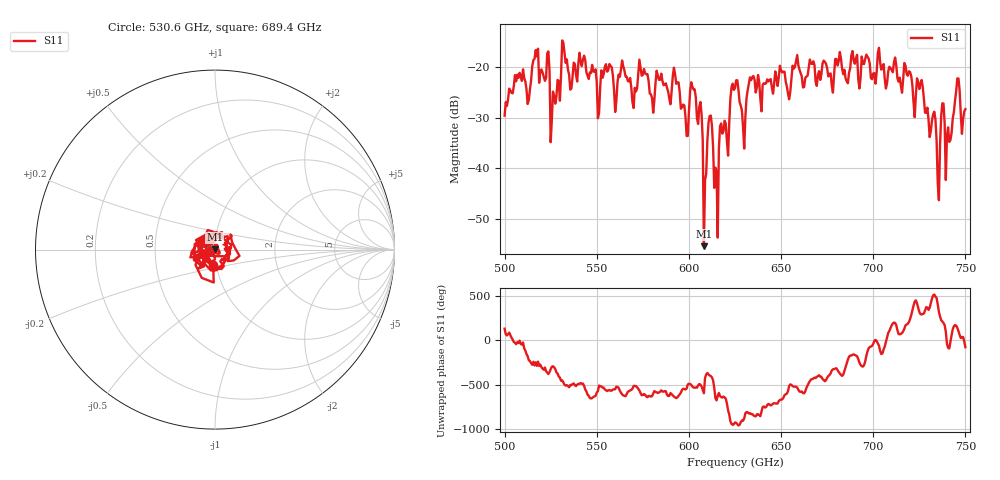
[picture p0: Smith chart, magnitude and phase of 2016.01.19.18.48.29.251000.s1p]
!Created with skrf (http://scikit-rf.org).
# GHz S RI R 50.0
!freq ReS11 ImS11
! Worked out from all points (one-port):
!   401 points, 500 GHz to 750 GHz, reference 50 ohm
!   lowest |S11| = -55.5 dB at 608.1 GHz (marker M1), VSWR 1.00, Z = 49.9 + j0.142 ohm
!   |S11| at or under -10 dB: start of sweep to end of sweep
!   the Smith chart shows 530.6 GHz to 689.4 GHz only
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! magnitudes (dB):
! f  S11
! 500 GHz  -29.6
! 506.9 GHz  -21.5
! 513.1 GHz  -26.5
! 516.9 GHz  -16.7
! 523.1 GHz  -17.3
! 526.2 GHz  -24.9
! 531.2 GHz  -14.7
! 550.6 GHz  -30.1
! 562.5 GHz  -21.9
! 593.8 GHz  -23.0
! 598.8 GHz  -33.6
! 602.5 GHz  -24.4
! 606.2 GHz  -26.9
! 608.1 GHz  -55.5
! 611.2 GHz  -29.7
! 615 GHz  -40.6
! 617.5 GHz  -31.2
! 625 GHz  -24.1
! 629.4 GHz  -32.0
! 633.8 GHz  -22.6
! 656.2 GHz  -19.7
! 687.5 GHz  -20.3
! 718.8 GHz  -21.7
! 733.1 GHz  -28.8
! 735 GHz  -43.0
! 740.6 GHz  -31.9
! 745.6 GHz  -22.2
! 750 GHz  -28.3
